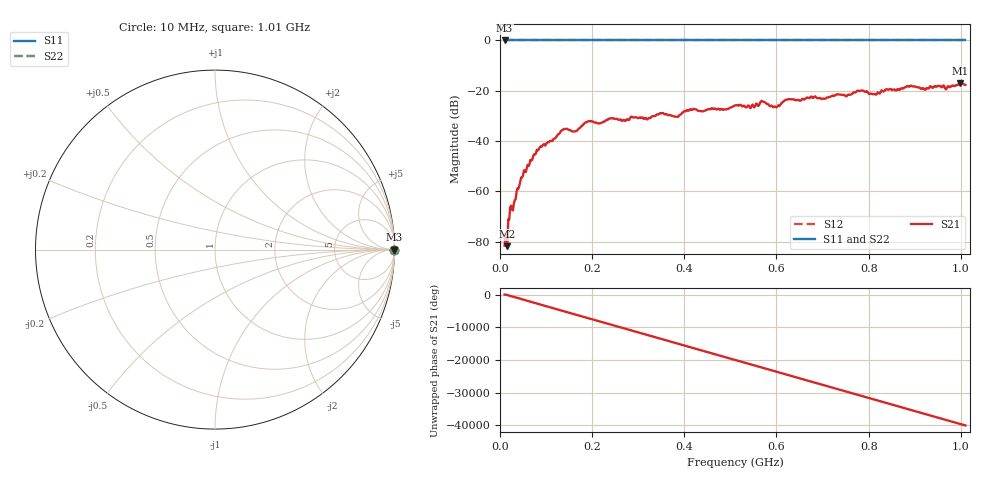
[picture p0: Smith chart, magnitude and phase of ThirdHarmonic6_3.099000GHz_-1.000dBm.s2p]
! 8/17/2025 9:08:19 AM
! C:\ANRITSUVNA\TEMP\TEMP.S2P
! CHANNEL.1
! TR.MEASUREMENT
! RAW.DATA
! RF.CORRECTION.OFF
! AVERAGING.OFF
! IF.BANDWIDTH: 5KHZ
! SWEEPTYPE:  FREQ.SWEEP(Linear)
! Reference Plane Port Info
! PORT:  PORT1  PORT2
! DISTANCE:  0  m  0  m
! TIME:  0  s  0  s
! PHASE.OFFSET:  0  deg.  0  deg.
! LOSS:  0  dB  0  dB
! REF.LOSS:  0  dB  0  dB
! REF.FREQ:  0  Hz  0  Hz
! Power Info
! POWER:  -20  dBm  -20  dBm
! EFF.POWER:  -20  dBm  -20  dBm
! SOURCE.ATTEN:  0  dB  0  dB
! TEST.ATTEN:  0  dB  0  dB
# GHZ S RI R 50.0
! FREQ.GHZ  S11RE  S11IM  S21RE  S21IM  S12RE  S12IM  S22RE  S22IM
!; PortSelection: Port_12
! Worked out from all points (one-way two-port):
!   501 points, 10 MHz to 1.01 GHz, reference 50 ohm
!   highest |S21| = -17.02 dB at 998 MHz (marker M1); lowest = -81.7 dB at 16 MHz (marker M2)
!   lowest |S11| = 0.0 dB at 10 MHz (marker M3)
!   |S11| at or under -10 dB: nowhere
!   |S22| runs from 0.0 to 0.0 dB; largest |S21 - S12| = 1.1
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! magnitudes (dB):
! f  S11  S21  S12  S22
! 10 MHz  0.0  -81.5  0.0  0.0
! 16 MHz  0.0  -81.7  0.0  0.0
! 22 MHz  0.0  -66.3  0.0  0.0
! 48 MHz  0.0  -54.4  0.0  0.0
! 76 MHz  0.0  -45.3  0.0  0.0
! 136 MHz  0.0  -35.6  0.0  0.0
! 162 MHz  0.0  -36.1  0.0  0.0
! 178 MHz  0.0  -33.8  0.0  0.0
! 344 MHz  0.0  -29.4  0.0  0.0
! 382 MHz  0.0  -30.2  0.0  0.0
! 416 MHz  0.0  -27.6  0.0  0.0
! 510 MHz  0.0  -25.8  0.0  0.0
! 548 MHz  0.0  -25.5  0.0  0.0
! 570 MHz  0.0  -24.3  0.0  0.0
! 596 MHz  0.0  -26.2  0.0  0.0
! 624 MHz  0.0  -23.4  0.0  0.0
! 678 MHz  0.0  -22.8  0.0  0.0
! 780 MHz  0.0  -20.1  0.0  0.0
! 814 MHz  0.0  -21.4  0.0  0.0
! 844 MHz  0.0  -19.5  0.0  0.0
! 998 MHz  0.0  -17.0  0.0  0.0
! 1.01 GHz  0.0  -17.7  0.0  0.0
